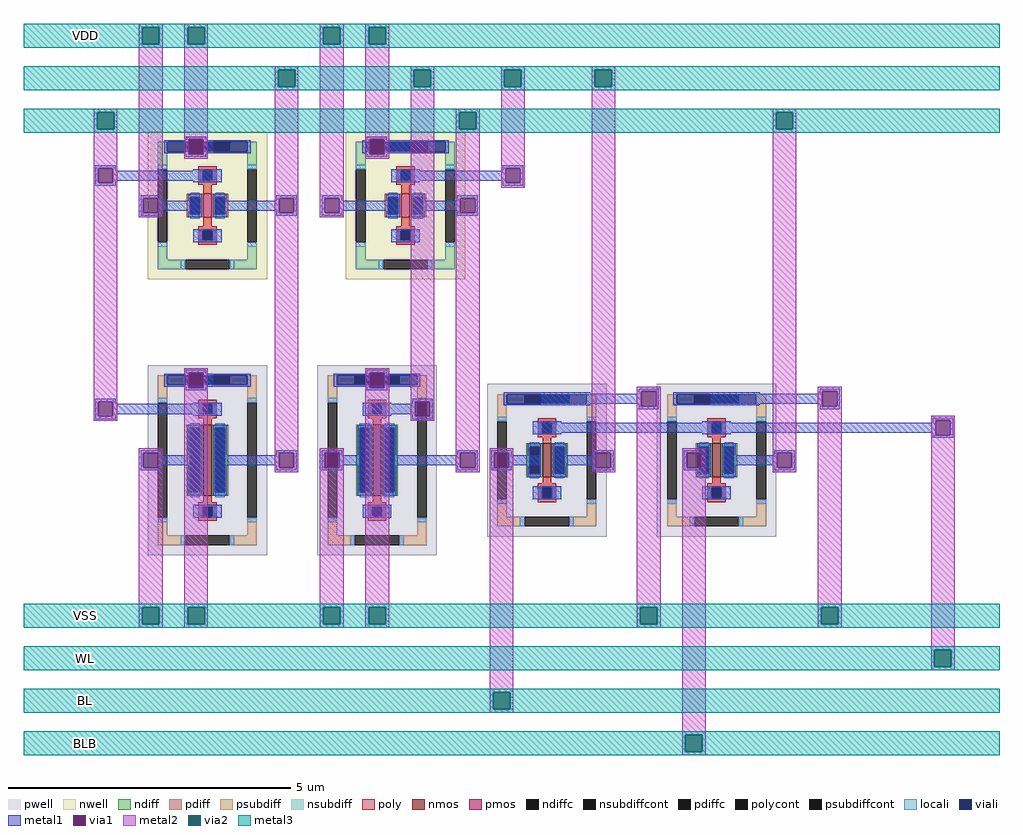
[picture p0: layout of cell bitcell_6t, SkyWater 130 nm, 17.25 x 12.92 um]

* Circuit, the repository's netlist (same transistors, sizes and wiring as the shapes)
* Canonical SKY130A SRAM 6T single-port schematic netlist.
* Pin order matches the Xschem symbol: VDD BL BLB VSS WL.
.subckt bitcell_6t VDD BL BLB VSS WL
XPU_L Q  QB VDD VDD sky130_fd_pr__pfet_01v8 l=0.15 w=0.42 nf=1
XPU_R QB Q  VDD VDD sky130_fd_pr__pfet_01v8 l=0.15 w=0.42 nf=1
XPD_L Q  QB VSS VSS sky130_fd_pr__nfet_01v8 l=0.15 w=1.26 nf=1
XPD_R QB Q  VSS VSS sky130_fd_pr__nfet_01v8 l=0.15 w=1.26 nf=1
XACC_L Q  WL BL  VSS sky130_fd_pr__nfet_01v8 l=0.15 w=0.60 nf=1
XACC_R QB WL BLB VSS sky130_fd_pr__nfet_01v8 l=0.15 w=0.60 nf=1
.ends bitcell_6t

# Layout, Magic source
magic
tech sky130A
magscale 1 2
<< metal1 >>
rect 124 -766 196 -756
rect 124 -818 134 -766
rect 186 -774 196 -766
rect 764 -766 836 -756
rect 186 -810 220 -774
rect 186 -818 196 -810
rect 124 -828 196 -818
rect 764 -818 774 -766
rect 826 -774 836 -766
rect 826 -810 920 -774
rect 826 -818 836 -810
rect 764 -828 836 -818
rect -196 -868 -124 -858
rect -196 -920 -186 -868
rect -134 -876 -124 -868
rect 1244 -868 1316 -858
rect 1244 -876 1254 -868
rect -134 -912 220 -876
rect 880 -912 1254 -876
rect -134 -920 -124 -912
rect -196 -930 -124 -920
rect 1244 -920 1254 -912
rect 1306 -920 1316 -868
rect 1244 -930 1316 -920
rect -36 -974 36 -964
rect -36 -1026 -26 -974
rect 26 -982 36 -974
rect 132 -982 180 -958
rect 26 -1018 180 -982
rect 26 -1026 36 -1018
rect -36 -1036 36 -1026
rect 132 -1042 180 -1018
rect 220 -982 268 -958
rect 444 -974 516 -964
rect 444 -982 454 -974
rect 220 -1018 454 -982
rect 220 -1042 268 -1018
rect 444 -1026 454 -1018
rect 506 -1026 516 -974
rect 444 -1036 516 -1026
rect 604 -974 676 -964
rect 604 -1026 614 -974
rect 666 -982 676 -974
rect 832 -982 880 -958
rect 666 -1018 880 -982
rect 666 -1026 676 -1018
rect 604 -1036 676 -1026
rect 832 -1042 880 -1018
rect 920 -982 968 -958
rect 1084 -974 1156 -964
rect 1084 -982 1094 -974
rect 920 -1018 1094 -982
rect 920 -1042 968 -1018
rect 1084 -1026 1094 -1018
rect 1146 -1026 1156 -974
rect 1084 -1036 1156 -1026
rect 124 -1591 196 -1581
rect 124 -1643 134 -1591
rect 186 -1599 196 -1591
rect 764 -1591 836 -1581
rect 186 -1635 220 -1599
rect 186 -1643 196 -1635
rect 124 -1653 196 -1643
rect 764 -1643 774 -1591
rect 826 -1643 836 -1591
rect 764 -1653 836 -1643
rect 1724 -1657 1796 -1647
rect 1724 -1665 1734 -1657
rect -196 -1693 -124 -1683
rect -196 -1745 -186 -1693
rect -134 -1701 -124 -1693
rect 924 -1693 996 -1683
rect 924 -1701 934 -1693
rect -134 -1737 220 -1701
rect 780 -1737 934 -1701
rect -134 -1745 -124 -1737
rect -196 -1755 -124 -1745
rect 924 -1745 934 -1737
rect 986 -1745 996 -1693
rect 1380 -1701 1734 -1665
rect 1724 -1709 1734 -1701
rect 1786 -1709 1796 -1657
rect 2364 -1657 2436 -1647
rect 2364 -1665 2374 -1657
rect 1980 -1701 2374 -1665
rect 1724 -1719 1796 -1709
rect 2364 -1709 2374 -1701
rect 2426 -1709 2436 -1657
rect 2364 -1719 2436 -1709
rect 924 -1755 996 -1745
rect 2764 -1759 2836 -1749
rect 2764 -1767 2774 -1759
rect -36 -1874 36 -1864
rect -36 -1926 -26 -1874
rect 26 -1882 36 -1874
rect 132 -1882 180 -1774
rect 26 -1918 180 -1882
rect 26 -1926 36 -1918
rect -36 -1936 36 -1926
rect 132 -2026 180 -1918
rect 220 -1882 268 -1774
rect 444 -1874 516 -1864
rect 444 -1882 454 -1874
rect 220 -1918 454 -1882
rect 220 -2026 268 -1918
rect 444 -1926 454 -1918
rect 506 -1926 516 -1874
rect 444 -1936 516 -1926
rect 604 -1874 676 -1864
rect 604 -1926 614 -1874
rect 666 -1882 676 -1874
rect 732 -1882 780 -1774
rect 666 -1918 780 -1882
rect 666 -1926 676 -1918
rect 604 -1936 676 -1926
rect 732 -2026 780 -1918
rect 820 -1882 868 -1774
rect 1380 -1803 2774 -1767
rect 2764 -1811 2774 -1803
rect 2826 -1811 2836 -1759
rect 2764 -1821 2836 -1811
rect 1084 -1874 1156 -1864
rect 1084 -1882 1094 -1874
rect 820 -1918 1094 -1882
rect 820 -2026 868 -1918
rect 1084 -1926 1094 -1918
rect 1146 -1926 1156 -1874
rect 1084 -1936 1156 -1926
rect 1204 -1874 1276 -1864
rect 1204 -1926 1214 -1874
rect 1266 -1882 1276 -1874
rect 1420 -1882 1468 -1840
rect 1932 -1864 1980 -1840
rect 1564 -1874 1636 -1864
rect 1564 -1882 1574 -1874
rect 1266 -1918 1376 -1882
rect 1420 -1918 1574 -1882
rect 1266 -1926 1276 -1918
rect 1204 -1936 1276 -1926
rect 1420 -1960 1468 -1918
rect 1564 -1926 1574 -1918
rect 1626 -1926 1636 -1874
rect 1564 -1936 1636 -1926
rect 1884 -1874 1980 -1864
rect 1884 -1926 1894 -1874
rect 1946 -1926 1980 -1874
rect 1884 -1936 1980 -1926
rect 1932 -1960 1980 -1936
rect 2020 -1882 2068 -1840
rect 2204 -1874 2276 -1864
rect 2204 -1882 2214 -1874
rect 2020 -1918 2214 -1882
rect 2020 -1960 2068 -1918
rect 2204 -1926 2214 -1918
rect 2266 -1926 2276 -1874
rect 2204 -1936 2276 -1926
<< via1 >>
rect 134 -818 186 -766
rect 774 -818 826 -766
rect -186 -920 -134 -868
rect 1254 -920 1306 -868
rect -26 -1026 26 -974
rect 454 -1026 506 -974
rect 614 -1026 666 -974
rect 1094 -1026 1146 -974
rect 134 -1643 186 -1591
rect 774 -1643 826 -1591
rect -186 -1745 -134 -1693
rect 934 -1745 986 -1693
rect 1734 -1709 1786 -1657
rect 2374 -1709 2426 -1657
rect -26 -1926 26 -1874
rect 454 -1926 506 -1874
rect 614 -1926 666 -1874
rect 2774 -1811 2826 -1759
rect 1094 -1926 1146 -1874
rect 1214 -1926 1266 -1874
rect 1574 -1926 1626 -1874
rect 1894 -1926 1946 -1874
rect 2214 -1926 2266 -1874
<< metal2 >>
rect -42 -370 42 -358
rect -42 -430 -30 -370
rect 30 -430 42 -370
rect -202 -670 -118 -658
rect -202 -730 -190 -670
rect -130 -730 -118 -670
rect -202 -868 -118 -730
rect -202 -920 -186 -868
rect -134 -920 -118 -868
rect -202 -1693 -118 -920
rect -42 -974 42 -430
rect 118 -370 202 -358
rect 118 -430 130 -370
rect 190 -430 202 -370
rect 118 -766 202 -430
rect 598 -370 682 -358
rect 598 -430 610 -370
rect 670 -430 682 -370
rect 118 -818 134 -766
rect 186 -818 202 -766
rect 118 -834 202 -818
rect 438 -520 522 -508
rect 438 -580 450 -520
rect 510 -580 522 -520
rect -42 -1026 -26 -974
rect 26 -1026 42 -974
rect -42 -1042 42 -1026
rect 438 -974 522 -580
rect 438 -1026 454 -974
rect 506 -1026 522 -974
rect -202 -1745 -186 -1693
rect -134 -1745 -118 -1693
rect -202 -1761 -118 -1745
rect 118 -1591 202 -1575
rect 118 -1643 134 -1591
rect 186 -1643 202 -1591
rect -42 -1874 42 -1858
rect -42 -1926 -26 -1874
rect 26 -1926 42 -1874
rect -42 -2420 42 -1926
rect -42 -2480 -30 -2420
rect 30 -2480 42 -2420
rect -42 -2492 42 -2480
rect 118 -2420 202 -1643
rect 438 -1874 522 -1026
rect 598 -974 682 -430
rect 758 -370 842 -358
rect 758 -430 770 -370
rect 830 -430 842 -370
rect 758 -766 842 -430
rect 758 -818 774 -766
rect 826 -818 842 -766
rect 758 -834 842 -818
rect 918 -520 1002 -508
rect 918 -580 930 -520
rect 990 -580 1002 -520
rect 598 -1026 614 -974
rect 666 -1026 682 -974
rect 598 -1042 682 -1026
rect 758 -1591 842 -1575
rect 758 -1643 774 -1591
rect 826 -1643 842 -1591
rect 438 -1926 454 -1874
rect 506 -1926 522 -1874
rect 438 -1942 522 -1926
rect 598 -1874 682 -1858
rect 598 -1926 614 -1874
rect 666 -1926 682 -1874
rect 118 -2480 130 -2420
rect 190 -2480 202 -2420
rect 118 -2492 202 -2480
rect 598 -2420 682 -1926
rect 598 -2480 610 -2420
rect 670 -2480 682 -2420
rect 598 -2492 682 -2480
rect 758 -2420 842 -1643
rect 918 -1693 1002 -580
rect 1238 -520 1322 -508
rect 1238 -580 1250 -520
rect 1310 -580 1322 -520
rect 918 -1745 934 -1693
rect 986 -1745 1002 -1693
rect 918 -1761 1002 -1745
rect 1078 -670 1162 -658
rect 1078 -730 1090 -670
rect 1150 -730 1162 -670
rect 1078 -974 1162 -730
rect 1238 -868 1322 -580
rect 1238 -920 1254 -868
rect 1306 -920 1322 -868
rect 1238 -936 1322 -920
rect 1558 -520 1642 -508
rect 1558 -580 1570 -520
rect 1630 -580 1642 -520
rect 1078 -1026 1094 -974
rect 1146 -1026 1162 -974
rect 1078 -1874 1162 -1026
rect 1078 -1926 1094 -1874
rect 1146 -1926 1162 -1874
rect 1078 -1942 1162 -1926
rect 1198 -1874 1282 -1858
rect 1198 -1926 1214 -1874
rect 1266 -1926 1282 -1874
rect 758 -2480 770 -2420
rect 830 -2480 842 -2420
rect 758 -2492 842 -2480
rect 1198 -2720 1282 -1926
rect 1558 -1874 1642 -580
rect 2198 -670 2282 -658
rect 2198 -730 2210 -670
rect 2270 -730 2282 -670
rect 1558 -1926 1574 -1874
rect 1626 -1926 1642 -1874
rect 1558 -1942 1642 -1926
rect 1718 -1657 1802 -1641
rect 1718 -1709 1734 -1657
rect 1786 -1709 1802 -1657
rect 1718 -2420 1802 -1709
rect 1718 -2480 1730 -2420
rect 1790 -2480 1802 -2420
rect 1718 -2492 1802 -2480
rect 1878 -1874 1962 -1858
rect 1878 -1926 1894 -1874
rect 1946 -1926 1962 -1874
rect 1198 -2780 1210 -2720
rect 1270 -2780 1282 -2720
rect 1198 -2792 1282 -2780
rect 1878 -2870 1962 -1926
rect 2198 -1874 2282 -730
rect 2198 -1926 2214 -1874
rect 2266 -1926 2282 -1874
rect 2198 -1942 2282 -1926
rect 2358 -1657 2442 -1641
rect 2358 -1709 2374 -1657
rect 2426 -1709 2442 -1657
rect 2358 -2420 2442 -1709
rect 2358 -2480 2370 -2420
rect 2430 -2480 2442 -2420
rect 2358 -2492 2442 -2480
rect 2758 -1759 2842 -1743
rect 2758 -1811 2774 -1759
rect 2826 -1811 2842 -1759
rect 2758 -2570 2842 -1811
rect 2758 -2630 2770 -2570
rect 2830 -2630 2842 -2570
rect 2758 -2642 2842 -2630
rect 1878 -2930 1890 -2870
rect 1950 -2930 1962 -2870
rect 1878 -2942 1962 -2930
<< via2 >>
rect -30 -430 30 -370
rect -190 -730 -130 -670
rect 130 -430 190 -370
rect 610 -430 670 -370
rect 450 -580 510 -520
rect -30 -2480 30 -2420
rect 770 -430 830 -370
rect 930 -580 990 -520
rect 130 -2480 190 -2420
rect 610 -2480 670 -2420
rect 1250 -580 1310 -520
rect 1090 -730 1150 -670
rect 1570 -580 1630 -520
rect 770 -2480 830 -2420
rect 2210 -730 2270 -670
rect 1730 -2480 1790 -2420
rect 1210 -2780 1270 -2720
rect 2370 -2480 2430 -2420
rect 2770 -2630 2830 -2570
rect 1890 -2930 1950 -2870
<< metal3 >>
rect -450 -370 3000 -358
rect -450 -430 -30 -370
rect 30 -430 130 -370
rect 190 -430 610 -370
rect 670 -430 770 -370
rect 830 -430 3000 -370
rect -450 -442 3000 -430
rect -450 -520 3000 -508
rect -450 -580 450 -520
rect 510 -580 930 -520
rect 990 -580 1250 -520
rect 1310 -580 1570 -520
rect 1630 -580 3000 -520
rect -450 -592 3000 -580
rect -450 -670 3000 -658
rect -450 -730 -190 -670
rect -130 -730 1090 -670
rect 1150 -730 2210 -670
rect 2270 -730 3000 -670
rect -450 -742 3000 -730
rect -450 -2420 3000 -2408
rect -450 -2480 -30 -2420
rect 30 -2480 130 -2420
rect 190 -2480 610 -2420
rect 670 -2480 770 -2420
rect 830 -2480 1730 -2420
rect 1790 -2480 2370 -2420
rect 2430 -2480 3000 -2420
rect -450 -2492 3000 -2480
rect -450 -2570 3000 -2558
rect -450 -2630 2770 -2570
rect 2830 -2630 3000 -2570
rect -450 -2642 3000 -2630
rect -450 -2720 3000 -2708
rect -450 -2780 1210 -2720
rect 1270 -2780 3000 -2720
rect -450 -2792 3000 -2780
rect -450 -2870 3000 -2858
rect -450 -2930 1890 -2870
rect 1950 -2930 3000 -2870
rect -450 -2942 3000 -2930
use bitcell_6t_acc_device  bitcell_6t_acc_device_0
transform 1 0 1400 0 1 -1900
box -211 -270 211 270
use bitcell_6t_acc_device  bitcell_6t_acc_device_1
transform 1 0 2000 0 1 -1900
box -211 -270 211 270
use bitcell_6t_pd_device  bitcell_6t_pd_device_0
transform 1 0 200 0 1 -1900
box -211 -336 211 336
use bitcell_6t_pd_device  bitcell_6t_pd_device_1
transform 1 0 800 0 1 -1900
box -211 -336 211 336
use bitcell_6t_pu_device  bitcell_6t_pu_device_0
transform 1 0 200 0 1 -1000
box -211 -261 211 261
use bitcell_6t_pu_device  bitcell_6t_pu_device_1
transform 1 0 900 0 1 -1000
box -211 -261 211 261
<< labels >>
rlabel metal3 -255 -425 -205 -375 0 VDD
port 0 n
rlabel metal3 -255 -2775 -205 -2725 0 BL
port 1 n
rlabel metal3 -255 -2925 -205 -2875 0 BLB
port 2 n
rlabel metal3 -255 -2475 -205 -2425 0 VSS
port 3 n
rlabel metal3 -255 -2625 -205 -2575 0 WL
port 4 n
<< end >>

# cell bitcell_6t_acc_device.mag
magic
tech sky130A
magscale 1 2
<< pwell >>
rect -211 -270 211 270
<< nmos >>
rect -15 -60 15 60
<< ndiff >>
rect -73 48 -15 60
rect -73 -48 -61 48
rect -27 -48 -15 48
rect -73 -60 -15 -48
rect 15 48 73 60
rect 15 -48 27 48
rect 61 -48 73 48
rect 15 -60 73 -48
<< ndiffc >>
rect -61 -48 -27 48
rect 27 -48 61 48
<< psubdiff >>
rect -175 200 -79 234
rect 79 200 175 234
rect -175 138 -141 200
rect 141 138 175 200
rect -175 -200 -141 -138
rect 141 -200 175 -138
rect -175 -234 -79 -200
rect 79 -234 175 -200
<< psubdiffcont >>
rect -79 200 79 234
rect -175 -138 -141 138
rect 141 -138 175 138
rect -79 -234 79 -200
<< poly >>
rect -33 132 33 148
rect -33 98 -17 132
rect 17 98 33 132
rect -33 82 33 98
rect -15 60 15 82
rect -15 -82 15 -60
rect -33 -98 33 -82
rect -33 -132 -17 -98
rect 17 -132 33 -98
rect -33 -148 33 -132
<< polycont >>
rect -17 98 17 132
rect -17 -132 17 -98
<< locali >>
rect -175 138 -141 154
rect 141 138 175 154
rect -33 98 -17 132
rect 17 98 33 132
rect -61 48 -27 64
rect -61 -64 -27 -48
rect 27 48 61 64
rect 27 -64 61 -48
rect -33 -132 -17 -98
rect 17 -132 33 -98
rect -175 -154 -141 -138
rect 141 -154 175 -138
rect -95 -234 -79 -200
rect 79 -234 95 -200
<< viali >>
rect -141 200 -79 234
rect -79 200 79 234
rect 79 200 141 234
rect -17 98 17 132
rect -61 -48 -27 48
rect 27 -48 61 48
rect -17 -132 17 -98
<< metal1 >>
rect -153 234 153 240
rect -153 200 -141 234
rect 141 200 153 234
rect -153 194 153 200
rect -50 132 50 138
rect -50 98 -17 132
rect 17 98 50 132
rect -50 92 50 98
rect -67 48 -21 60
rect -67 -48 -61 48
rect -27 -48 -21 48
rect -67 -60 -21 -48
rect 21 48 67 60
rect 21 -48 27 48
rect 61 -48 67 48
rect 21 -60 67 -48
rect -50 -98 50 -92
rect -50 -132 -17 -98
rect 17 -132 50 -98
rect -50 -138 50 -132
<< properties >>
string FIXED_BBOX -158 -217 158 217
string library sky130
string parameters w 0.6 l 0.15 m 1 nf 1 diffcov 100 polycov 100 guard 1 glc 1 grc 1 gtc 1 gbc 1 tbcov 100 rlcov 100 topc 1 botc 1 poverlap 0 doverlap 1 lmin 0.15 wmin 0.42 class mosfet compatible {sky130_fd_pr__nfet_01v8 sky130_fd_pr__nfet_01v8_lvt  sky130_fd_bs_flash__special_sonosfet_star  sky130_fd_pr__nfet_g5v0d10v5 sky130_fd_pr__nfet_05v0_nvt  sky130_fd_pr__nfet_03v3_nvt} full_metal 0 viasrc 100 viadrn 100 viagate 100 viagb 0 viagr 0 viagl 0 viagt 100
<< end >>

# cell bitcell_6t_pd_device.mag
magic
tech sky130A
magscale 1 2
<< pwell >>
rect -211 -336 211 336
<< nmos >>
rect -15 -126 15 126
<< ndiff >>
rect -73 114 -15 126
rect -73 -114 -61 114
rect -27 -114 -15 114
rect -73 -126 -15 -114
rect 15 114 73 126
rect 15 -114 27 114
rect 61 -114 73 114
rect 15 -126 73 -114
<< ndiffc >>
rect -61 -114 -27 114
rect 27 -114 61 114
<< psubdiff >>
rect -175 266 -79 300
rect 79 266 175 300
rect -175 204 -141 266
rect 141 204 175 266
rect -175 -266 -141 -204
rect 141 -266 175 -204
rect -175 -300 -79 -266
rect 79 -300 175 -266
<< psubdiffcont >>
rect -79 266 79 300
rect -175 -204 -141 204
rect 141 -204 175 204
rect -79 -300 79 -266
<< poly >>
rect -33 198 33 214
rect -33 164 -17 198
rect 17 164 33 198
rect -33 148 33 164
rect -15 126 15 148
rect -15 -148 15 -126
rect -33 -164 33 -148
rect -33 -198 -17 -164
rect 17 -198 33 -164
rect -33 -214 33 -198
<< polycont >>
rect -17 164 17 198
rect -17 -198 17 -164
<< locali >>
rect -175 204 -141 220
rect 141 204 175 220
rect -33 164 -17 198
rect 17 164 33 198
rect -61 114 -27 130
rect -61 -130 -27 -114
rect 27 114 61 130
rect 27 -130 61 -114
rect -33 -198 -17 -164
rect 17 -198 33 -164
rect -175 -220 -141 -204
rect 141 -220 175 -204
rect -95 -300 -79 -266
rect 79 -300 95 -266
<< viali >>
rect -141 266 -79 300
rect -79 266 79 300
rect 79 266 141 300
rect -17 164 17 198
rect -61 -114 -27 114
rect 27 -114 61 114
rect -17 -198 17 -164
<< metal1 >>
rect -153 300 153 306
rect -153 266 -141 300
rect 141 266 153 300
rect -153 260 153 266
rect -50 198 50 204
rect -50 164 -17 198
rect 17 164 50 198
rect -50 158 50 164
rect -67 114 -21 126
rect -67 -114 -61 114
rect -27 -114 -21 114
rect -67 -126 -21 -114
rect 21 114 67 126
rect 21 -114 27 114
rect 61 -114 67 114
rect 21 -126 67 -114
rect -50 -164 50 -158
rect -50 -198 -17 -164
rect 17 -198 50 -164
rect -50 -204 50 -198
<< properties >>
string FIXED_BBOX -158 -283 158 283
string library sky130
string parameters w 1.26 l 0.15 m 1 nf 1 diffcov 100 polycov 100 guard 1 glc 1 grc 1 gtc 1 gbc 1 tbcov 100 rlcov 100 topc 1 botc 1 poverlap 0 doverlap 1 lmin 0.15 wmin 0.42 class mosfet compatible {sky130_fd_pr__nfet_01v8 sky130_fd_pr__nfet_01v8_lvt  sky130_fd_bs_flash__special_sonosfet_star  sky130_fd_pr__nfet_g5v0d10v5 sky130_fd_pr__nfet_05v0_nvt  sky130_fd_pr__nfet_03v3_nvt} full_metal 0 viasrc 100 viadrn 100 viagate 100 viagb 0 viagr 0 viagl 0 viagt 100
<< end >>

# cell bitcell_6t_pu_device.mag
magic
tech sky130A
magscale 1 2
<< nwell >>
rect -211 -261 211 261
<< pmos >>
rect -15 -42 15 42
<< pdiff >>
rect -73 30 -15 42
rect -73 -30 -61 30
rect -27 -30 -15 30
rect -73 -42 -15 -30
rect 15 30 73 42
rect 15 -30 27 30
rect 61 -30 73 30
rect 15 -42 73 -30
<< pdiffc >>
rect -61 -30 -27 30
rect 27 -30 61 30
<< nsubdiff >>
rect -175 191 -79 225
rect 79 191 175 225
rect -175 129 -141 191
rect 141 129 175 191
rect -175 -191 -141 -129
rect 141 -191 175 -129
rect -175 -225 -79 -191
rect 79 -225 175 -191
<< nsubdiffcont >>
rect -79 191 79 225
rect -175 -129 -141 129
rect 141 -129 175 129
rect -79 -225 79 -191
<< poly >>
rect -33 123 33 139
rect -33 89 -17 123
rect 17 89 33 123
rect -33 73 33 89
rect -15 42 15 73
rect -15 -73 15 -42
rect -33 -89 33 -73
rect -33 -123 -17 -89
rect 17 -123 33 -89
rect -33 -139 33 -123
<< polycont >>
rect -17 89 17 123
rect -17 -123 17 -89
<< locali >>
rect -175 129 -141 145
rect 141 129 175 145
rect -33 89 -17 123
rect 17 89 33 123
rect -61 30 -27 46
rect -61 -46 -27 -30
rect 27 30 61 46
rect 27 -46 61 -30
rect -33 -123 -17 -89
rect 17 -123 33 -89
rect -175 -145 -141 -129
rect 141 -145 175 -129
rect -95 -225 -79 -191
rect 79 -225 95 -191
<< viali >>
rect -141 191 -79 225
rect -79 191 79 225
rect 79 191 141 225
rect -17 89 17 123
rect -61 -30 -27 30
rect 27 -30 61 30
rect -17 -123 17 -89
<< metal1 >>
rect -153 225 153 231
rect -153 191 -141 225
rect 141 191 153 225
rect -153 185 153 191
rect -50 123 50 129
rect -50 89 -17 123
rect 17 89 50 123
rect -50 83 50 89
rect -67 30 -21 42
rect -67 -30 -61 30
rect -27 -30 -21 30
rect -67 -42 -21 -30
rect 21 30 67 42
rect 21 -30 27 30
rect 61 -30 67 30
rect 21 -42 67 -30
rect -50 -89 50 -83
rect -50 -123 -17 -89
rect 17 -123 50 -89
rect -50 -129 50 -123
<< properties >>
string FIXED_BBOX -158 -208 158 208
string library sky130
string parameters w 0.42 l 0.15 m 1 nf 1 diffcov 100 polycov 100 guard 1 glc 1 grc 1 gtc 1 gbc 1 tbcov 100 rlcov 100 topc 1 botc 1 poverlap 0 doverlap 1 lmin 0.15 wmin 0.42 class mosfet compatible {sky130_fd_pr__pfet_01v8  sky130_fd_pr__pfet_01v8_lvt sky130_fd_pr__pfet_01v8_hvt  sky130_fd_pr__pfet_g5v0d10v5} full_metal 0 viasrc 100 viadrn 100 viagate 100 viagb 0 viagr 0 viagl 0 viagt 100
<< end >>
